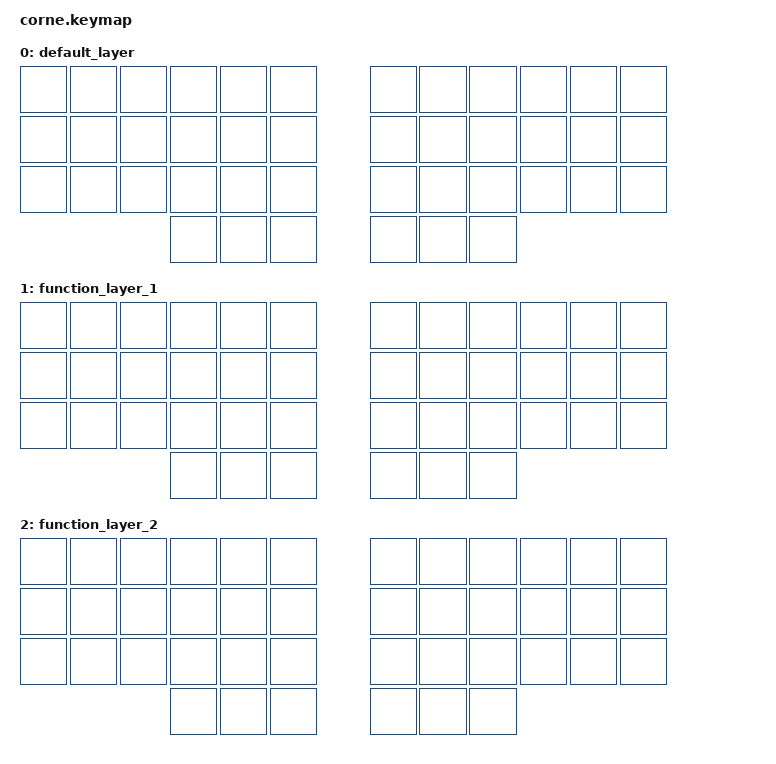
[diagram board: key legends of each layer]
/*
 * Copyright (c) 2020 The ZMK Contributors
 *
 * SPDX-License-Identifier: MIT
 */

#include <behaviors.dtsi>
#include <dt-bindings/zmk/bt.h>
#include <dt-bindings/zmk/keys.h>
#include <dt-bindings/zmk/outputs.h>

// CONFIG
#define COMBO_TIMEOUT 70
#define BASE_COMBO_LAYERS 0
#define FUNC_COMBO_LAYER_1 1
#define FUNC_COMBO_LAYER_2 2
#define STICKY_TIMEOUT 500

// LEFT SIDE
#define TLI 4 // TOP
#define TLM 3 // TOP
#define TLR 2 // TOP
#define TLP 1 // TOP
#define BLI 16 // BOTTOM
#define BLM 15 // BOTTOM
#define BLR 14 // BOTTOM
#define BLP 13 // BOTTOM
#define LOT 39 // O-THUMB
#define LIT 38 // I-THUMB

// RIGHT SIDE
#define TRI 7 // TOP
#define TRM 8 // TOP
#define TRR 9 // TOP
#define TRP 10 // TOP
#define BRI 19 // BOTTOM
#define BRM 20 // BOTTOM
#define BRR 21 // BOTTOM
#define BRP 22 // BOTTOM
#define ROT 40 // O-THUMB
#define RIT 41 // I-THUMB

&sk {
    release-after-ms = <STICKY_TIMEOUT>;
    quick-release;
};

/ {
  combos {
    compatible = "zmk,combos";
    #include "taipo.dtsi"
  };

  keymap {
    compatible = "zmk,keymap";

    default_layer {
      bindings = <
        &none            &none            &none            &none             &none            &none                 &none            &none            &none            &none            &none            &none
        &none            &none            &none            &none             &none            &none                 &none            &none            &none            &none            &none            &none
        &none            &none            &none            &none             &none            &none                 &none            &none            &none            &none            &none            &none
                                          &none            &none             &none            &none                 &none            &none
      >;
    };

    function_layer_1 {
      bindings = <
        &none            &none            &none            &none             &none            &none                 &none            &none            &none            &none            &none            &none
        &none            &none            &none            &none             &none            &none                 &none            &none            &none            &none            &none            &none
        &none            &none            &none            &none             &none            &none                 &none            &none            &none            &none            &none            &none
                                          &none            &none             &none            &none                 &none            &none
      >;
    };

    function_layer_2 {
      bindings = <
        &none            &none            &none            &none             &none            &none                 &none            &none            &none            &none            &none            &none
        &none            &none            &none            &none             &none            &none                 &none            &none            &none            &none            &none            &none
        &none            &none            &none            &none             &none            &none                 &none            &none            &none            &none            &none            &none
                                          &none            &none             &none            &none                 &none            &none
      >;
    };
  };
};
